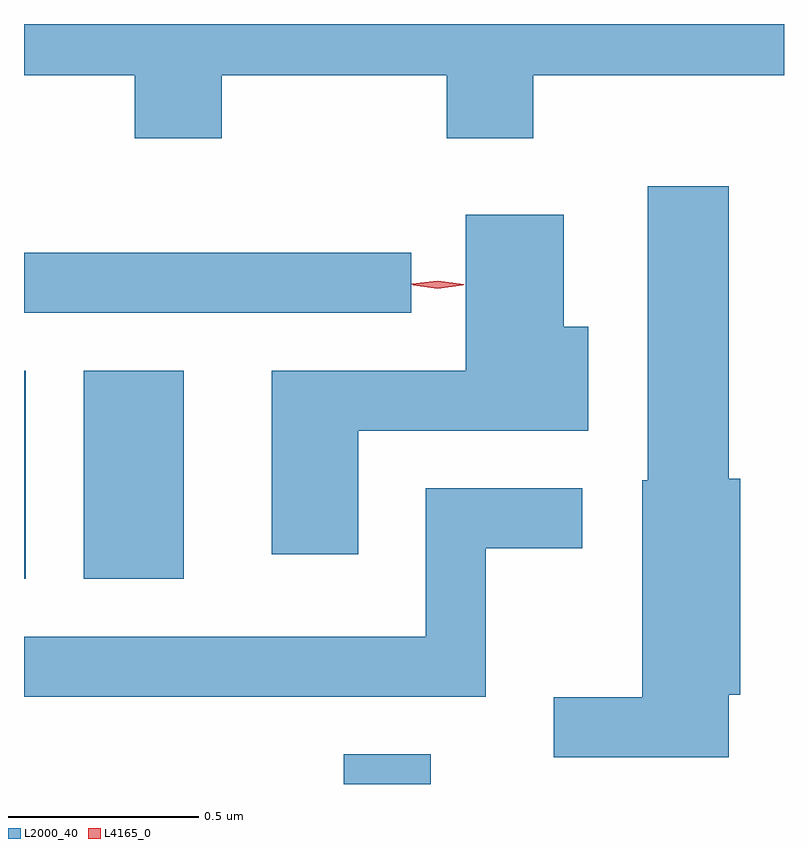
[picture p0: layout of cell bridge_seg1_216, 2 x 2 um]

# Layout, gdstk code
import gdstk
lib = gdstk.Library(unit=1e-6, precision=1e-09)
def R(c, l, rs):  # rectangles x0, y0, x1, y1
    for r in rs: c.add(gdstk.rectangle(r[:2], r[2:], *l))
def P(c, l, *ps):  # polygons
    for p in ps: c.add(gdstk.Polygon(p, *l))
L2000_40 = (2000, 40)
L4165_0 = (4165, 0)

bridge_seg1_216 = lib.new_cell('bridge_seg1_216')
R(bridge_seg1_216, L2000_40, [(823.131,926.571,823.359,926.649), (822.289,927.111,822.294,927.659), (822.446,927.111,822.709,927.659), (822.289,927.811,823.308,927.969)])
P(bridge_seg1_216, L2000_40, [(822.809,928.436),(823.401,928.436),(823.401,928.271),(823.629,928.271),(823.629,928.436),(824.289,928.436),(824.289,928.571),(822.289,928.571),(822.289,928.436),(822.581,928.436),(822.581,928.271),(822.809,928.271)],
  [(824.144,926.806),(824.174,926.806),(824.174,927.374),(824.144,927.374),(824.144,928.144),(823.931,928.144),(823.931,927.37),(823.916,927.37),(823.916,926.799),(823.683,926.799),(823.683,926.641),(824.144,926.641)],
  [(823.169,927.501),(823.774,927.501),(823.774,927.774),(823.709,927.774),(823.709,928.069),(823.451,928.069),(823.451,927.659),(822.941,927.659),(822.941,927.176),(823.169,927.176)],
  [(823.504,927.191),(823.758,927.191),(823.758,927.349),(823.346,927.349),(823.346,926.959),(822.289,926.959),(822.289,926.801),(823.504,926.801)])
P(bridge_seg1_216, L4165_0, [(823.378,927.874),(823.313,927.884),(823.312,927.884),(823.313,927.885),(823.378,927.894),(823.444,927.884),(823.444,927.884),(823.444,927.883)],
  [(823.378,927.876),(823.31,927.886),(823.309,927.887),(823.31,927.887),(823.378,927.896),(823.446,927.886),(823.447,927.886),(823.446,927.885)])

lib.write_gds('bridge_seg1_216.gds')
